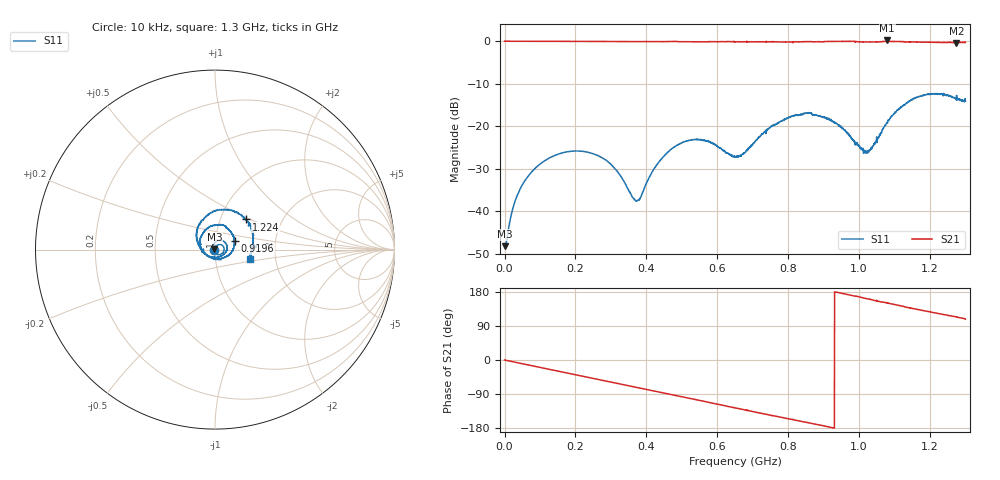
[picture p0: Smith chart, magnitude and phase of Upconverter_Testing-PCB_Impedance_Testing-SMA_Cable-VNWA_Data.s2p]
! ListType=Lin
# MHZ S DB R 50
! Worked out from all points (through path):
!   2048 points, 10 kHz to 1.3 GHz, reference 50 ohm
!   highest |S21| = 0.18 dB at 1.08 GHz (marker M1); lowest = -0.4 dB at 1.275 GHz (marker M2)
!   group delay of S21, straight-line fit = 538 ps
!   lowest |S11| = -48.2 dB at 1.915 MHz (marker M3), VSWR 1.01, Z = 49.6 + j0.159 ohm
!   |S11| at or under -10 dB: start of sweep to end of sweep
!   S12 and S22 are empty: the file has one direction only
!   S11 on the Smith chart (normalised r, x): 10 kHz: 0.99, -0.00; 919.6 MHz: 1.24, +0.12; 1.224 GHz: 1.32, +0.47; 1.3 GHz: 1.47, -0.16
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0.01  -47.62 -179.9  0.01 -0.1  -3000.00 -90.0  -3000.00 -90.0
1.915212  -48.20 155.6  0.00 -0.4  -3000.00 -90.0  -3000.00 -90.0
31.76354  -37.09 82.0  -0.01 -6.3  -3000.00 -90.0  -3000.00 -90.0
72.40808  -31.10 62.8  -0.02 -14.2  -3000.00 -90.0  -3000.00 -90.0
139.0905  -26.95 35.7  -0.02 -27.1  -3000.00 -90.0  -3000.00 -90.0
217.2042  -25.87 -2.1  -0.04 -42.4  -3000.00 -90.0  -3000.00 -90.0
295.953  -28.65 -50.1  -0.06 -57.6  -3000.00 -90.0  -3000.00 -90.0
372.7966  -37.56 -160.6  -0.08 -72.5  -3000.00 -90.0  -3000.00 -90.0
433.7634  -28.56 95.4  -0.09 -84.1  -3000.00 -90.0  -3000.00 -90.0
482.0288  -24.69 61.8  -0.05 -93.5  -3000.00 -90.0  -3000.00 -90.0
535.3747  -23.16 29.0  -0.12 -103.8  -3000.00 -90.0  -3000.00 -90.0
650.3225  -27.09 -86.1  -0.14 -126.6  -3000.00 -90.0  -3000.00 -90.0
753.8391  -19.89 146.4  -0.13 -146.4  -3000.00 -90.0  -3000.00 -90.0
866.8817  -17.11 63.5  -0.10 -167.5  -3000.00 -90.0  -3000.00 -90.0
919.5926  -18.40 22.5  -0.06 -177.8  -3000.00 -90.0  -3000.00 -90.0
1018.664  -26.01 -104.6  -0.17 162.4  -3000.00 -90.0  -3000.00 -90.0
1079.63  -19.20 153.9  0.18 150.1  -3000.00 -90.0  -3000.00 -90.0
1083.441  -18.50 148.4  -0.05 149.6  -3000.00 -90.0  -3000.00 -90.0
1150.758  -13.66 95.8  -0.17 136.1  -3000.00 -90.0  -3000.00 -90.0
1224.427  -12.37 44.3  -0.27 122.6  -3000.00 -90.0  -3000.00 -90.0
1274.597  -13.25 7.4  -0.39 113.9  -3000.00 -90.0  -3000.00 -90.0
1300  -13.96 -15.0  -0.24 107.7  -3000.00 -90.0  -3000.00 -90.0
